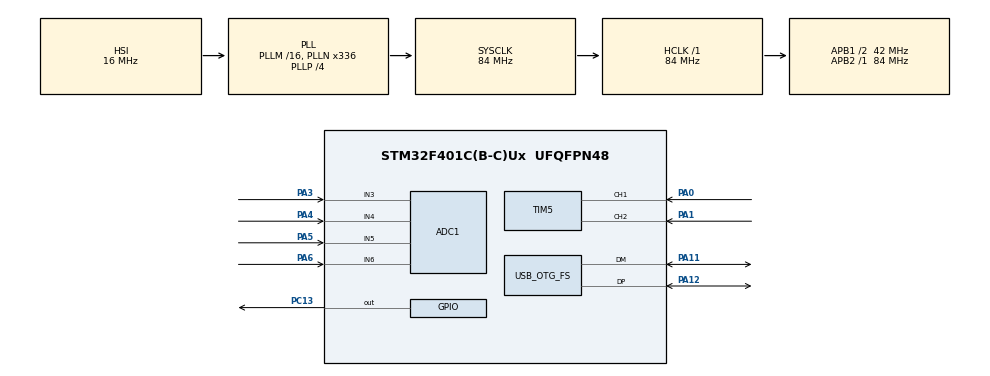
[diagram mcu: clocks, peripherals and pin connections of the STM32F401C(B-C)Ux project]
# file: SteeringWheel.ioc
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ADC1.Channel-0\#ChannelRegularConversion=ADC_CHANNEL_3
ADC1.Channel-1\#ChannelRegularConversion=ADC_CHANNEL_4
ADC1.Channel-2\#ChannelRegularConversion=ADC_CHANNEL_5
ADC1.Channel-3\#ChannelRegularConversion=ADC_CHANNEL_6
ADC1.ContinuousConvMode=ENABLE
ADC1.DMAContinuousRequests=ENABLE
ADC1.DiscontinuousConvMode=DISABLE
ADC1.InjNumberOfConversion=0
ADC1.NbrOfConversion=4
ADC1.NbrOfConversionFlag=1
ADC1.Rank-0\#ChannelRegularConversion=1
ADC1.Rank-1\#ChannelRegularConversion=2
ADC1.Rank-2\#ChannelRegularConversion=3
ADC1.Rank-3\#ChannelRegularConversion=4
ADC1.SamplingTime-0\#ChannelRegularConversion=ADC_SAMPLETIME_28CYCLES
ADC1.SamplingTime-1\#ChannelRegularConversion=ADC_SAMPLETIME_28CYCLES
ADC1.SamplingTime-2\#ChannelRegularConversion=ADC_SAMPLETIME_28CYCLES
ADC1.SamplingTime-3\#ChannelRegularConversion=ADC_SAMPLETIME_28CYCLES
ADC1.ScanConvMode=ENABLE
ADC1.master=1
Dma.ADC1.0.Direction=DMA_PERIPH_TO_MEMORY
Dma.ADC1.0.FIFOMode=DMA_FIFOMODE_DISABLE
Dma.ADC1.0.Instance=DMA2_Stream0
Dma.ADC1.0.MemDataAlignment=DMA_MDATAALIGN_HALFWORD
Dma.ADC1.0.MemInc=DMA_MINC_ENABLE
Dma.ADC1.0.Mode=DMA_CIRCULAR
Dma.ADC1.0.PeriphDataAlignment=DMA_PDATAALIGN_HALFWORD
Dma.ADC1.0.PeriphInc=DMA_PINC_DISABLE
Dma.ADC1.0.Priority=DMA_PRIORITY_LOW
Dma.Request0=ADC1
Mcu.Family=STM32F4
Mcu.Name=STM32F401C(B-C)Ux
Mcu.Package=UFQFPN48
NVIC.DMA2_Stream0_IRQn=true\:0\:0\:false\:false\:true\:false\:true\:true
NVIC.OTG_FS_IRQn=true\:0\:0\:false\:false\:true\:false\:true\:true
NVIC.PriorityGroup=NVIC_PRIORITYGROUP_4
NVIC.TIM5_IRQn=true\:0\:0\:false\:false\:true\:true\:true\:true
PA0-WKUP.Signal=S_TIM5_CH1
PA1.Signal=S_TIM5_CH2
PA11.Mode=Device_Only
PA11.Signal=USB_OTG_FS_DM
PA12.Mode=Device_Only
PA12.Signal=USB_OTG_FS_DP
PA3.Signal=ADCx_IN3
PA4.Signal=ADCx_IN4
PA5.Signal=ADCx_IN5
PA6.Signal=ADCx_IN6
PC13-ANTI_TAMP.Signal=GPIO_Output
ProjectManager.HeapSize=0x200
ProjectManager.StackSize=0x400
ProjectManager.TargetToolchain=STM32CubeIDE
RCC.48MHZClocksFreq_Value=48000000
RCC.AHBFreq_Value=84000000
RCC.APB1CLKDivider=RCC_HCLK_DIV2
RCC.APB1Freq_Value=42000000
RCC.APB1TimFreq_Value=84000000
RCC.APB2Freq_Value=84000000
RCC.APB2TimFreq_Value=84000000
RCC.CortexFreq_Value=84000000
RCC.HCLKFreq_Value=84000000
RCC.HSE_VALUE=25000000
RCC.HSI_VALUE=16000000
RCC.LSE_VALUE=32768
RCC.PLLN=336
RCC.PLLP=RCC_PLLP_DIV4
RCC.PLLQ=7
RCC.PLLSource=RCC_PLLSOURCE_HSI
RCC.PLLSourceVirtualString=RCC_PLLSOURCE_HSI
RCC.SYSCLKFreq_VALUE=84000000
RCC.SYSCLKSource=RCC_SYSCLKSOURCE_PLLCLK
RCC.VCOOutputFreq_Value=336000000
SH.ADCx_IN3.0=ADC1_IN3,IN3
SH.ADCx_IN4.0=ADC1_IN4,IN4
SH.ADCx_IN5.0=ADC1_IN5,IN5
SH.ADCx_IN6.0=ADC1_IN6,IN6
SH.S_TIM5_CH1.0=TIM5_CH1,Encoder_Interface
SH.S_TIM5_CH2.0=TIM5_CH2,Encoder_Interface
TIM5.EncoderMode=TIM_ENCODERMODE_TI12
USB_DEVICE.CLASS_NAME_FS=HID
USB_DEVICE.CONFIGURATION_STRING_HID_FS=Steering Wheel Config
USB_DEVICE.INTERFACE_STRING_HID_FS=Steering Wheel Interface
USB_DEVICE.MANUFACTURER_STRING=moraisz
USB_DEVICE.PRODUCT_STRING_HID_FS=Steering Wheel
USB_DEVICE.VirtualMode=Hid
USB_DEVICE.VirtualModeFS=Hid_FS
USB_OTG_FS.VirtualMode=Device_Only
VP_USB_DEVICE_VS_USB_DEVICE_HID_FS.Mode=HID_FS
board=custom

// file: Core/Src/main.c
/* USER CODE BEGIN Header */
/**
  ******************************************************************************
  * @file           : main.c
  * @brief          : Main program body
  ******************************************************************************
  * @attention
  *
  * Copyright (c) 2025 STMicroelectronics.
  * All rights reserved.
  *
  * This software is licensed under terms that can be found in the LICENSE file
  * in the root directory of this software component.
  * If no LICENSE file comes with this software, it is provided AS-IS.
  *
  ******************************************************************************
  */
/* USER CODE END Header */
#include "main.h"
#include "adc.h"
#include "dma.h"
#include "tim.h"
#include "usb_device.h"
#include "gpio.h"

/* USER CODE BEGIN PM */
extern USBD_HandleTypeDef hUsbDeviceFS;
/* USER CODE END PM */

void SystemClock_Config(void);

int main(void)
{

    /* MCU Configuration--------------------------------------------------------*/

    /* Reset of all peripherals, Initializes the Flash interface and the Systick. */
    HAL_Init();

    /* Configure the system clock */
    SystemClock_Config();

    /* Initialize all configured peripherals */
    MX_GPIO_Init();
    MX_DMA_Init();
    MX_USB_DEVICE_Init();
    MX_TIM5_Init();
    MX_ADC1_Init();
    /* USER CODE BEGIN 2 */
    HAL_TIM_Encoder_Start(&htim5, TIM_CHANNEL_ALL);
    // HAL_Delay(100); // Waiting load USB stack
    /* USER CODE END 2 */

    /* Infinite loop */
    /* USER CODE BEGIN WHILE */
    // Tick variables for timing
    static uint32_t last_tick = 0;
    uint32_t current_tick = 0;

    // Array to hold the HID report data
    uint8_t report[6];

    // Variables for encoder readings
    int16_t encoder_last_axis = 0;
    int16_t encoder_axis = 0;
    int32_t encoder_position = 0;
    int16_t encoder_delta = 0;
    float encoder_angle = 0.0f;
    int16_t encoder_scaled = 0;

    // Start the ADC in DMA mode to read 4 channels
    static uint16_t adc_buffer[4];  // Para armazenar os valores dos 4 canais
    HAL_ADC_Start_DMA(&hadc1, (uint32_t*)adc_buffer, 4);

    uint16_t pot1 = 0; // Canal 3 (PA3)
    uint16_t pot2 = 0; // Canal 4 (PA4)

    while (1)
    {
        /* USER CODE END WHILE */

        /* USER CODE BEGIN 3 */
        current_tick = HAL_GetTick();
        if ((current_tick - last_tick) >= 2) { // Aproximadamente 2ms de intervalo
            last_tick = current_tick;
            encoder_axis = __HAL_TIM_GET_COUNTER(&htim5);  // Read the current position of the encoder
            encoder_delta = encoder_axis - encoder_last_axis;  // Calculate the difference (delta) since the last reading

            if (encoder_delta != 0)  // Only send a encoder report if there was movement
            {
                // Accumulate the encoder position and update the last axis
                encoder_position += encoder_delta;
                encoder_last_axis = encoder_axis;

                // Clamp the angle to the range [-450, 450] degrees
                encoder_angle = ((float)encoder_position / 2400.0f) * 360.0f;
                if (encoder_angle > 450.0f) encoder_angle = 450.0f;
                if (encoder_angle < -450.0f) encoder_angle = -450.0f;

                // Scale the angle to the int16_t range [-32768, 32767]
                encoder_scaled = (int16_t)((encoder_angle / 450.0f) * 32767.0f);
            }

            pot1 = adc_buffer[0]; // Canal 3 (PA3)
            pot2 = adc_buffer[1]; // Canal 4 (PA4)

            report[0] = encoder_scaled & 0xFF;
            report[1] = (encoder_scaled >> 8) & 0xFF;
            report[2] = pot1 & 0xFF;
            report[3] = (pot1 >> 8) & 0xFF;
            report[4] = pot2 & 0xFF;
            report[5] = (pot2 >> 8) & 0xFF;

            if (hUsbDeviceFS.dev_state == USBD_STATE_CONFIGURED) {
                USBD_HID_SendReport(&hUsbDeviceFS, report, sizeof(report));
                HAL_GPIO_TogglePin(GPIOC, GPIO_PIN_13);
            }
        }
    }
    /* USER CODE END 3 */
}

void SystemClock_Config(void)
{
    RCC_OscInitTypeDef RCC_OscInitStruct = {0};
    RCC_ClkInitTypeDef RCC_ClkInitStruct = {0};

    /** Configure the main internal regulator output voltage
  */
    __HAL_RCC_PWR_CLK_ENABLE();
    __HAL_PWR_VOLTAGESCALING_CONFIG(PWR_REGULATOR_VOLTAGE_SCALE2);

    /** Initializes the RCC Oscillators according to the specified parameters
  * in the RCC_OscInitTypeDef structure.
  */
    RCC_OscInitStruct.OscillatorType = RCC_OSCILLATORTYPE_HSI;
    RCC_OscInitStruct.HSIState = RCC_HSI_ON;
    RCC_OscInitStruct.HSICalibrationValue = RCC_HSICALIBRATION_DEFAULT;
    RCC_OscInitStruct.PLL.PLLState = RCC_PLL_ON;
    RCC_OscInitStruct.PLL.PLLSource = RCC_PLLSOURCE_HSI;
    RCC_OscInitStruct.PLL.PLLM = 16;
    RCC_OscInitStruct.PLL.PLLN = 336;
    RCC_OscInitStruct.PLL.PLLP = RCC_PLLP_DIV4;
    RCC_OscInitStruct.PLL.PLLQ = 7;
    if (HAL_RCC_OscConfig(&RCC_OscInitStruct) != HAL_OK)
    {
        Error_Handler();
    }

    /** Initializes the CPU, AHB and APB buses clocks
  */
    RCC_ClkInitStruct.ClockType = RCC_CLOCKTYPE_HCLK|RCC_CLOCKTYPE_SYSCLK
        |RCC_CLOCKTYPE_PCLK1|RCC_CLOCKTYPE_PCLK2;
    RCC_ClkInitStruct.SYSCLKSource = RCC_SYSCLKSOURCE_PLLCLK;
    RCC_ClkInitStruct.AHBCLKDivider = RCC_SYSCLK_DIV1;
    RCC_ClkInitStruct.APB1CLKDivider = RCC_HCLK_DIV2;
    RCC_ClkInitStruct.APB2CLKDivider = RCC_HCLK_DIV1;

    if (HAL_RCC_ClockConfig(&RCC_ClkInitStruct, FLASH_LATENCY_2) != HAL_OK)
    {
        Error_Handler();
    }
}

void Error_Handler(void)
{
    __disable_irq();
    while (1)
    {
    }
}
